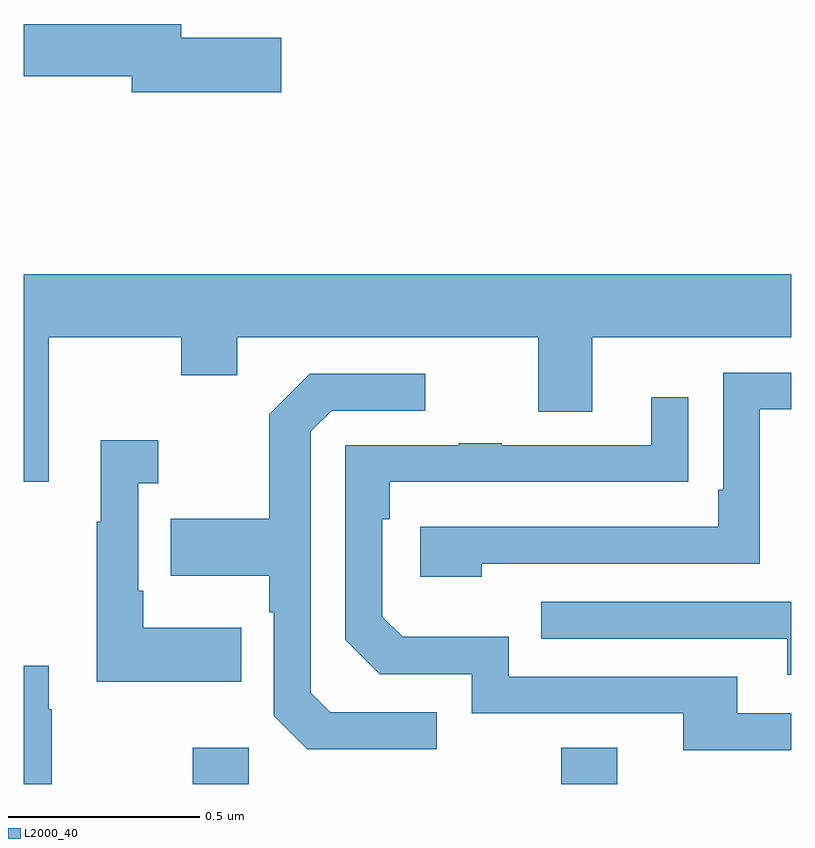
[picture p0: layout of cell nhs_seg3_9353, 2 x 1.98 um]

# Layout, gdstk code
import gdstk
lib = gdstk.Library(unit=1e-6, precision=1e-09)
def R(c, l, rs):  # rectangles x0, y0, x1, y1
    for r in rs: c.add(gdstk.rectangle(r[:2], r[2:], *l))
def P(c, l, *ps):  # polygons
    for p in ps: c.add(gdstk.Polygon(p, *l))
L2000_40 = (2000, 40)

nhs_seg3_9353 = lib.new_cell('nhs_seg3_9353')
R(nhs_seg3_9353, L2000_40, [(227.44,718.4,227.586,718.495), (228.4,718.4,228.547,718.495)])
P(nhs_seg3_9353, L2000_40, [(227.671,720.344),(227.41,720.344),(227.41,720.38),(227,720.38),(227,720.244),(227.282,720.244),(227.282,720.202),(227.671,720.202)],
  [(227.065,719.564),(227.41,719.564),(227.41,719.465),(227.557,719.465),(227.557,719.564),(228.341,719.564),(228.341,719.37),(228.481,719.37),(228.481,719.564),(229,719.564),(229,719.728),(227,719.728),(227,719.187),(227.065,719.187)],
  [(228.194,718.974),(228.918,718.974),(228.918,719.376),(229,719.376),(229,719.472),(228.822,719.472),(228.822,719.167),(228.809,719.167),(228.809,719.07),(228.033,719.07),(228.033,718.94),(228.194,718.94)],
  [(228.076,718.587),(227.799,718.587),(227.748,718.638),(227.748,719.319),(227.802,719.373),(228.046,719.373),(228.046,719.469),(227.745,719.469),(227.64,719.363),(227.64,719.091),(227.383,719.091),(227.383,718.943),(227.64,718.943),(227.64,718.847),(227.652,718.847),(227.652,718.578),(227.739,718.491),(228.076,718.491)],
  [(229,718.584),(228.859,718.584),(228.859,718.68),(228.264,718.68),(228.264,718.783),(227.987,718.783),(227.934,718.836),(227.934,719.09),(227.954,719.09),(227.954,719.187),(228.629,719.187),(228.629,719.188),(228.731,719.188),(228.731,719.407),(228.635,719.407),(228.635,719.283),(228.245,719.283),(228.245,719.288),(228.133,719.288),(228.133,719.283),(227.838,719.283),(227.838,718.776),(227.928,718.686),(228.168,718.686),(228.168,718.584),(228.719,718.584),(228.719,718.488),(229,718.488)],
  [(227.567,718.807),(227.311,718.807),(227.311,718.903),(227.298,718.903),(227.298,719.183),(227.35,719.183),(227.35,719.296),(227.201,719.296),(227.201,719.083),(227.19,719.083),(227.19,718.667),(227.567,718.667)],
  [(229,718.875),(228.349,718.875),(228.349,718.779),(228.989,718.779),(228.989,718.685),(229,718.685)],
  [(227.073,718.595),(227.065,718.595),(227.065,718.708),(227,718.708),(227,718.4),(227.073,718.4)])

lib.write_gds('nhs_seg3_9353.gds')
